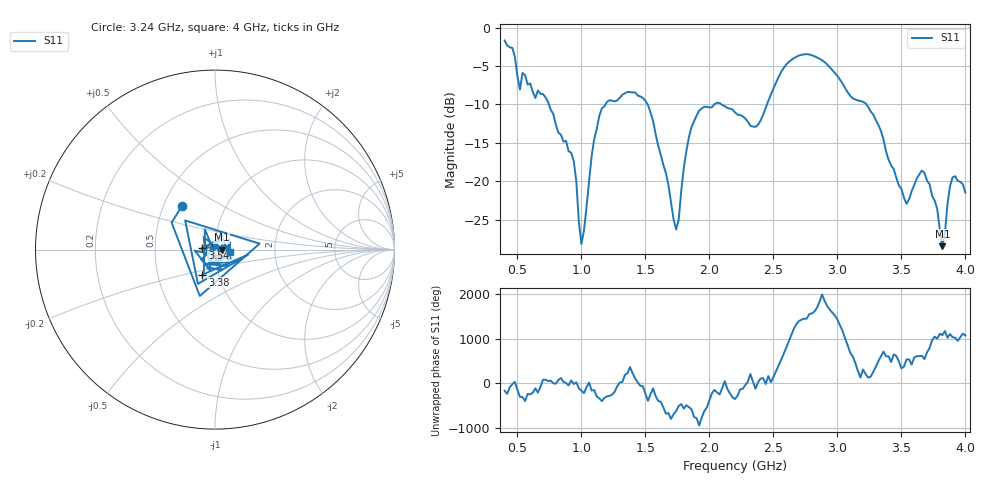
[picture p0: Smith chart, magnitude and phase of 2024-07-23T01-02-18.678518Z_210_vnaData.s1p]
!Created with skrf (http://scikit-rf.org).
# Hz S RI R 50.0
!freq ReS11 ImS11
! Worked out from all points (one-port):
!   181 points, 400 MHz to 4 GHz, reference 50 ohm
!   lowest |S11| = -28.5 dB at 3.82 GHz (marker M1), VSWR 1.08, Z = 53.9 - j0.0144 ohm
!   |S11| at or under -10 dB: 746.3 MHz to 1.188 GHz (441.9 MHz wide, 45.7 % of centre); 1.518 GHz to 2.038 GHz (520.5 MHz wide, 29.3 % of centre); 3.227 GHz to end of sweep (the widest 3 of 4)
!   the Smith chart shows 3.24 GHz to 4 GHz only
!   S11 on the Smith chart (normalised r, x): 3.24 GHz: 0.62, +0.33; 3.38 GHz: 0.84, -0.24; 3.54 GHz: 0.87, +0.01; 4 GHz: 1.18, -0.03
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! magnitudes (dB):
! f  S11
! 400 MHz  -1.7
! 460 MHz  -2.6
! 520 MHz  -8.0
! 540 MHz  -5.9
! 700 MHz  -8.6
! 860 MHz  -14.8
! 940 MHz  -17.4
! 1 GHz  -28.2
! 1.14 GHz  -11.5
! 1.3 GHz  -9.1
! 1.52 GHz  -10.1
! 1.74 GHz  -26.3
! 1.76 GHz  -25.0
! 1.84 GHz  -14.3
! 1.92 GHz  -10.8
! 2.2 GHz  -11.0
! 2.38 GHz  -12.7
! 2.66 GHz  -4.0
! 2.88 GHz  -4.2
! 3.1 GHz  -8.9
! 3.24 GHz  -10.3
! 3.38 GHz  -16.1
! 3.54 GHz  -22.9
! 3.56 GHz  -22.4
! 3.68 GHz  -18.9
! 3.82 GHz  -28.5
! 3.9 GHz  -19.5
! 4 GHz  -21.5
